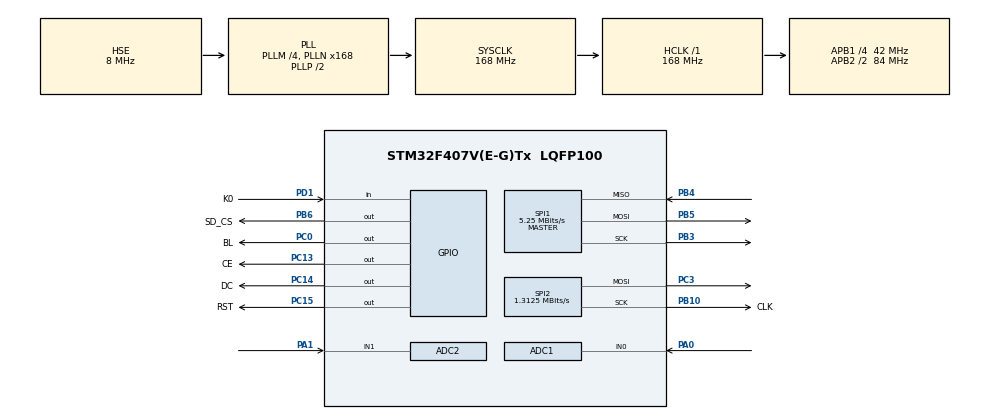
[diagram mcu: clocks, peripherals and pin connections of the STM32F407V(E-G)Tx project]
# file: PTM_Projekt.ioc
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ADC1.NbrOfConversionFlag=1
ADC1.master=1
ADC2.Channel-1\#ChannelRegularConversion=ADC_CHANNEL_1
ADC2.NbrOfConversionFlag=1
ADC2.Rank-1\#ChannelRegularConversion=1
ADC2.SamplingTime-1\#ChannelRegularConversion=ADC_SAMPLETIME_3CYCLES
Mcu.Family=STM32F4
Mcu.Name=STM32F407V(E-G)Tx
Mcu.Package=LQFP100
NVIC.PriorityGroup=NVIC_PRIORITYGROUP_4
NVIC.TIM2_IRQn=true\:0\:0\:false\:false\:true\:true\:true
NVIC.TIM4_IRQn=true\:0\:0\:false\:false\:true\:true\:true
PA0-WKUP.Signal=ADCx_IN0
PA1.Signal=ADCx_IN1
PB10.GPIO_Label=CLK
PB10.Mode=TX_Only_Simplex_Unidirect_Master
PB10.Signal=SPI2_SCK
PB3.Mode=Full_Duplex_Master
PB3.Signal=SPI1_SCK
PB4.Mode=Full_Duplex_Master
PB4.Signal=SPI1_MISO
PB5.Mode=Full_Duplex_Master
PB5.Signal=SPI1_MOSI
PB6.GPIO_Label=SD_CS
PB6.Signal=GPIO_Output
PC0.GPIO_Label=BL
PC0.Signal=GPIO_Output
PC13-ANTI_TAMP.GPIO_Label=CE
PC13-ANTI_TAMP.Signal=GPIO_Output
PC14-OSC32_IN.GPIO_Label=DC
PC14-OSC32_IN.Signal=GPIO_Output
PC15-OSC32_OUT.GPIO_Label=RST
PC15-OSC32_OUT.Signal=GPIO_Output
PC3.Mode=TX_Only_Simplex_Unidirect_Master
PC3.Signal=SPI2_MOSI
PD1.GPIO_Label=K0
PD1.Signal=GPIO_Input
PH0-OSC_IN.Mode=HSE-External-Oscillator
PH0-OSC_IN.Signal=RCC_OSC_IN
PH1-OSC_OUT.Mode=HSE-External-Oscillator
PH1-OSC_OUT.Signal=RCC_OSC_OUT
ProjectManager.HeapSize=0x200
ProjectManager.StackSize=0x400
ProjectManager.TargetToolchain=STM32CubeIDE
RCC.48MHZClocksFreq_Value=84000000
RCC.AHBFreq_Value=168000000
RCC.APB1CLKDivider=RCC_HCLK_DIV4
RCC.APB1Freq_Value=42000000
RCC.APB1TimFreq_Value=84000000
RCC.APB2CLKDivider=RCC_HCLK_DIV2
RCC.APB2Freq_Value=84000000
RCC.APB2TimFreq_Value=168000000
RCC.CortexFreq_Value=168000000
RCC.HCLKFreq_Value=168000000
RCC.HSE_VALUE=8000000
RCC.HSI_VALUE=16000000
RCC.LSE_VALUE=32768
RCC.PLLM=4
RCC.PLLN=168
RCC.PLLSourceVirtual=RCC_PLLSOURCE_HSE
RCC.SYSCLKFreq_VALUE=168000000
RCC.SYSCLKSource=RCC_SYSCLKSOURCE_PLLCLK
RCC.VCOOutputFreq_Value=336000000
SH.ADCx_IN0.0=ADC1_IN0,IN0
SH.ADCx_IN1.0=ADC2_IN1,IN1
SPI1.BaudRatePrescaler=SPI_BAUDRATEPRESCALER_16
SPI1.CalculateBaudRate=5.25 MBits/s
SPI1.Direction=SPI_DIRECTION_2LINES
SPI1.Mode=SPI_MODE_MASTER
SPI1.VirtualType=VM_MASTER
SPI2.BaudRatePrescaler=SPI_BAUDRATEPRESCALER_32
SPI2.CalculateBaudRate=1.3125 MBits/s
SPI2.Direction=SPI_DIRECTION_2LINES
SPI2.Mode=SPI_MODE_MASTER
SPI2.VirtualType=VM_MASTER
TIM2.Period=499
TIM2.Prescaler=8399
TIM4.Period=9
TIM4.Prescaler=262
TIM4.TIM_MasterOutputTrigger=TIM_TRGO_UPDATE
VP_TIM2_VS_ClockSourceINT.Mode=Internal
VP_TIM4_VS_ClockSourceINT.Mode=Internal
board=custom

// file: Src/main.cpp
/* USER CODE BEGIN Header */
/**
 ******************************************************************************
 * @file           : main.c
 * @brief          : Main program body
 ******************************************************************************
 * @attention
 *
 * <h2><center>&copy; Copyright (c) 2020 STMicroelectronics.
 * All rights reserved.</center></h2>
 *
 * This software component is licensed by ST under BSD 3-Clause license,
 * the "License"; You may not use this file except in compliance with the
 * License. You may obtain a copy of the License at:
 *                        opensource.org/licenses/BSD-3-Clause
 *
 ******************************************************************************
 */
/* USER CODE END Header */

#include "libraries.hpp"
#include "main.h"
#include "gpio.h"
#include "adc.h"
#include "tim.h"
#include "display.h"
#include "display.c"
#include "ff.h"

#include "Includes.hpp"
#include "joystick.hpp"
#include "screen.hpp"
#include <vector>
#include <string>
#include "string.h"

/* USER CODE BEGIN PV */
TIM_HandleTypeDef htim2;
int shotButton = 0;
int button1 = 0;	//drgania stykow
int button2 = 0;	//drgania stykow
int button3 = 0;	//drgania stykow
SPI_HandleTypeDef hspi1;

char buffer[512]; //bufor odczytu i zapisu
static FATFS FatFs; //uchwyt do urządzenia FatFs (dysku, karty SD...)
FRESULT fresult; //do przechowywania wyniku operacji na bibliotece FatFs
FIL file; //uchwyt do otwartego pliku
UINT bytes_written; //liczba zapisanych byte	WORD
UINT bytes_read; //liczba odczytanych byte		WORD

int currentLevel = 1;

/* USER CODE END PV */

void SystemClock_Config(void);

/* USER CODE BEGIN 0 */

/**
 * Sets Player coordinates
 *
 * ARG:
 * 	j - Joystick object
 * 	p - pointer to Player object
 */
void setXY(Joystick j, Player *p) {
	if (j.valueX < 1000 && p->positionX > 0)
		p->positionX--;
	else if (j.valueX > 3000 && p->positionX < 84 - p->getWidth())
		p->positionX++;
	if (j.valueY < 1000 && p->positionY > 0)
		p->positionY--;
	else if (j.valueY > 3000 && p->positionY < 48 - p->getHeight())
		p->positionY++;
}

/**
 * Sets active SPI
 *
 * ARG:
 * 	display - display's state: 0 if inactive, 1 if active, anything else if does not change
 * 	SD - SD reader's state: 0 if inactive, 1 if active, anything else if does not change
 */
void setSPI(int display, int SD) {
	if (display == 0)
		HAL_GPIO_WritePin(CE_GPIO_Port, CE_Pin, GPIO_PIN_SET);
	else if (display == 1)
		HAL_GPIO_WritePin(CE_GPIO_Port, CE_Pin, GPIO_PIN_RESET);
	if (SD == 0)
		HAL_GPIO_WritePin(SD_CS_GPIO_Port, SD_CS_Pin, GPIO_PIN_SET);
	else if (SD == 1)
		HAL_GPIO_WritePin(SD_CS_GPIO_Port, SD_CS_Pin, GPIO_PIN_RESET);
}

/* USER CODE END 0 */

int main(void) {
	/* USER CODE BEGIN 1 */
	Joystick j;

	/* USER CODE END 1 */

	/* MCU Configuration--------------------------------------------------------*/

	/* Reset of all peripherals, Initializes the Flash interface and the Systick. */
	HAL_Init();

	/* Configure the system clock */
	SystemClock_Config();

	/* Initialize all configured peripherals */
	MX_GPIO_Init();
	MX_ADC1_Init();
	MX_ADC2_Init();
	MX_SPI1_Init();
	MX_SPI2_Init();
	MX_TIM2_Init();
	MX_TIM4_Init();

	/* USER CODE BEGIN 2 */

	//HAL_TIM_Base_Start_IT(&htim2);
	setSPI(2, 0);

	struct display_config cfg;
	cfg.spi = &hspi2;
	cfg.reset_port = RST_GPIO_Port;
	cfg.reset_pin = RST_Pin;
	cfg.bl_port = BL_GPIO_Port;
	cfg.bl_pin = BL_Pin;
	cfg.dc_port = DC_GPIO_Port;
	cfg.dc_pin = DC_Pin;
	cfg.ce_port = CE_GPIO_Port;
	cfg.ce_pin = CE_Pin;
	display_setup(&cfg);

	/* USER CODE END 2 */

	/* Infinite loop */
	/* USER CODE BEGIN WHILE */
	while (1) {
		Level l(true);

		setSPI(0, 1);
		fresult = f_mount(&FatFs, "", 0);
		if (currentLevel == 1)
			fresult = f_open(&file, "level1.txt", FA_READ);
		else if (currentLevel == 2)
			fresult = f_open(&file, "level2.txt", FA_READ);
		else if (currentLevel == 3)
			fresult = f_open(&file, "level3.txt", FA_READ);
		fresult = f_read(&file, buffer, 512, &bytes_read);
		fresult = f_close(&file);
		l.loadF(buffer, l);
		l.player = Player(37, 40, 3);
		if (l.Enemies.size() == 0)
			l.boss_ptr = new Boss();
		setSPI(1, 0);

		while (!l.finished()) {
			j.getJoystick();
			setXY(j, &l.player);

			button1 = !HAL_GPIO_ReadPin(K0_GPIO_Port, K0_Pin);
			if (button1 == 1) {
				if (button2 == 0) {
					button2 = button1;
					shotButton = 0;
				} else if (button2 == 1) {
					if (button3 == 1)
						shotButton = 1;
					else
						button3 = 1;
				}
			} else {
				button2 = 0;
				button3 = 0;
				shotButton = 0;
			}

			clear(cfg);

			if (shotButton && l.playerShot == nullptr) {
				l.playerShoot();
			}
			l.play();
			displayLevel(cfg, &l);

			HAL_Delay(100);
		}
		clear(cfg);
		if (l.Enemies.size() == 0 && l.boss_ptr == nullptr) {
			currentLevel++;
			display_setup(&cfg);
			display_clear_buffer(&cfg);
			char hw[] = "Hey! Nice!";
			memcpy(&(cfg.buffer[2][1]), hw, strlen(hw));
			display_rewrite_buffer(&cfg);
		} else {
			display_setup(&cfg);
			display_clear_buffer(&cfg);
			char hw[] = "Game over!";
			memcpy(&(cfg.buffer[2][1]), hw, strlen(hw));
			display_rewrite_buffer(&cfg);
		}
		if (currentLevel > 3) {
			display_setup(&cfg);
			display_clear_buffer(&cfg);
			char hw[] = "Nice! Press button if you want to play again";
			memcpy(&(cfg.buffer[0][1]), hw, strlen(hw));
			display_rewrite_buffer(&cfg);

			while (true) {
				button1 = !HAL_GPIO_ReadPin(K0_GPIO_Port, K0_Pin);
				if (button1 == 1) {
					if (button2 == 0) {
						button2 = button1;
						shotButton = 0;
					} else if (button2 == 1) {
						if (button3 == 1)
							shotButton = 1;
						else
							button3 = 1;
					}
				} else {
					button2 = 0;
					button3 = 0;
					shotButton = 0;
				}
				if (shotButton)
					currentLevel = 1;
			}

		}
		HAL_Delay(5000);

		/* USER CODE END WHILE */

	}
}

void SystemClock_Config(void) {
	RCC_OscInitTypeDef RCC_OscInitStruct = { 0 };
	RCC_ClkInitTypeDef RCC_ClkInitStruct = { 0 };

	/** Configure the main internal regulator output voltage
	 */
	__HAL_RCC_PWR_CLK_ENABLE()
	;
	__HAL_PWR_VOLTAGESCALING_CONFIG(PWR_REGULATOR_VOLTAGE_SCALE1);
	/** Initializes the CPU, AHB and APB busses clocks
	 */
	RCC_OscInitStruct.OscillatorType = RCC_OSCILLATORTYPE_HSE;
	RCC_OscInitStruct.HSEState = RCC_HSE_ON;
	RCC_OscInitStruct.PLL.PLLState = RCC_PLL_ON;
	RCC_OscInitStruct.PLL.PLLSource = RCC_PLLSOURCE_HSE;
	RCC_OscInitStruct.PLL.PLLM = 4;
	RCC_OscInitStruct.PLL.PLLN = 168;
	RCC_OscInitStruct.PLL.PLLP = RCC_PLLP_DIV2;
	RCC_OscInitStruct.PLL.PLLQ = 4;
	if (HAL_RCC_OscConfig(&RCC_OscInitStruct) != HAL_OK) {
		Error_Handler();
	}
	/** Initializes the CPU, AHB and APB busses clocks
	 */
	RCC_ClkInitStruct.ClockType = RCC_CLOCKTYPE_HCLK | RCC_CLOCKTYPE_SYSCLK
			| RCC_CLOCKTYPE_PCLK1 | RCC_CLOCKTYPE_PCLK2;
	RCC_ClkInitStruct.SYSCLKSource = RCC_SYSCLKSOURCE_PLLCLK;
	RCC_ClkInitStruct.AHBCLKDivider = RCC_SYSCLK_DIV1;
	RCC_ClkInitStruct.APB1CLKDivider = RCC_HCLK_DIV4;
	RCC_ClkInitStruct.APB2CLKDivider = RCC_HCLK_DIV2;

	if (HAL_RCC_ClockConfig(&RCC_ClkInitStruct, FLASH_LATENCY_5) != HAL_OK) {
		Error_Handler();
	}
}

void Error_Handler(void) {
}

/************************ (C) COPYRIGHT STMicroelectronics *****END OF FILE****/
